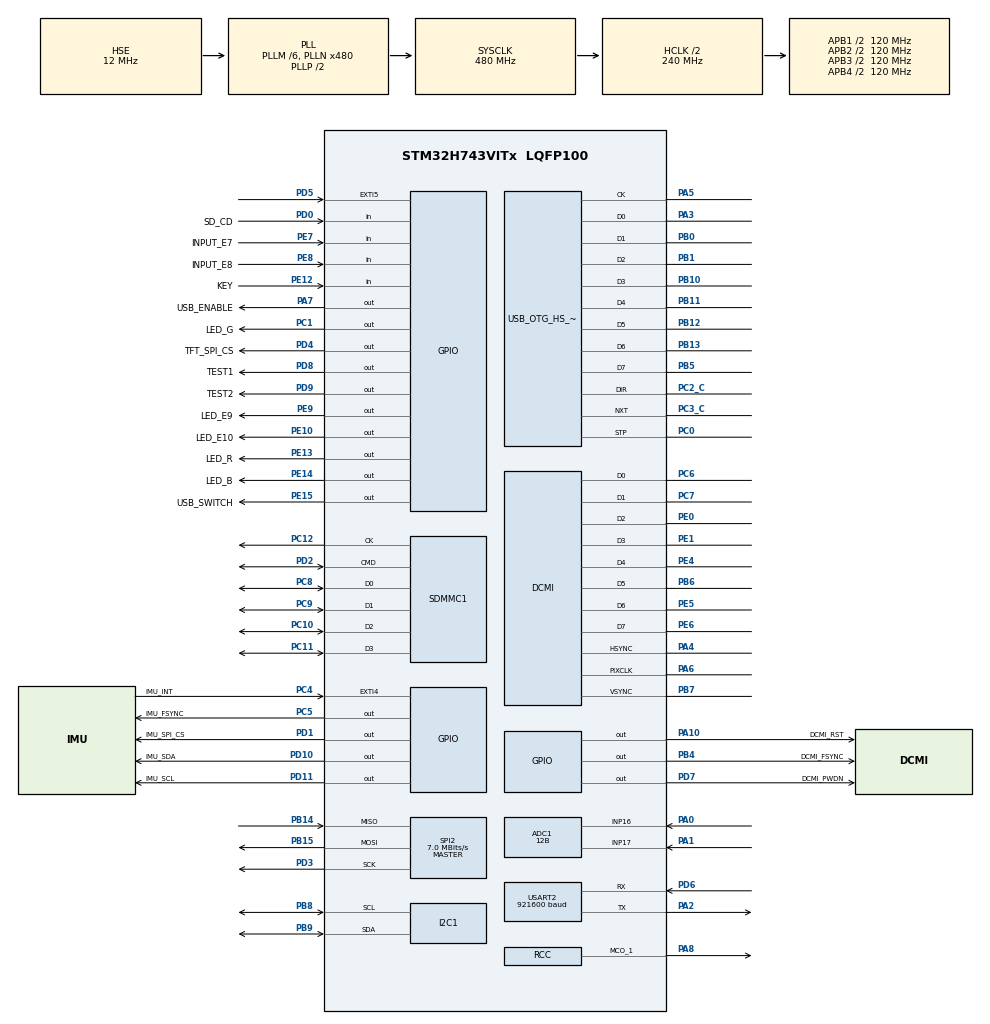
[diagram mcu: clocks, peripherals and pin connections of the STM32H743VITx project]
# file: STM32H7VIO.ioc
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ADC1.Channel-0\#ChannelRegularConversion=ADC_CHANNEL_16
ADC1.NbrOfConversionFlag=1
ADC1.OffsetNumber-0\#ChannelRegularConversion=ADC_OFFSET_NONE
ADC1.Overrun=ADC_OVR_DATA_OVERWRITTEN
ADC1.Rank-0\#ChannelRegularConversion=1
ADC1.Resolution=ADC_RESOLUTION_12B
ADC1.SamplingTime-0\#ChannelRegularConversion=ADC_SAMPLETIME_1CYCLE_5
ADC1.master=1
CORTEX_M7.AccessPermission-Cortex_Memory_Protection_Unit_Region0_Settings=MPU_REGION_FULL_ACCESS
CORTEX_M7.BaseAddress-Cortex_Memory_Protection_Unit_Region0_Settings=0x24000000
CORTEX_M7.CPU_DCache=Disabled
CORTEX_M7.CPU_ICache=Enabled
CORTEX_M7.Enable-Cortex_Memory_Protection_Unit_Region0_Settings=MPU_REGION_ENABLE
CORTEX_M7.MPU_Control=__NULL
CORTEX_M7.Size-Cortex_Memory_Protection_Unit_Region0_Settings=MPU_REGION_SIZE_512KB
DCMI.JPEGMode=DCMI_JPEG_DISABLE
Dma.DCMI.0.Direction=DMA_PERIPH_TO_MEMORY
Dma.DCMI.0.EventEnable=DISABLE
Dma.DCMI.0.FIFOMode=DMA_FIFOMODE_ENABLE
Dma.DCMI.0.FIFOThreshold=DMA_FIFO_THRESHOLD_FULL
Dma.DCMI.0.Instance=DMA2_Stream1
Dma.DCMI.0.MemBurst=DMA_MBURST_SINGLE
Dma.DCMI.0.MemDataAlignment=DMA_MDATAALIGN_WORD
Dma.DCMI.0.MemInc=DMA_MINC_ENABLE
Dma.DCMI.0.Mode=DMA_CIRCULAR
Dma.DCMI.0.PeriphBurst=DMA_PBURST_SINGLE
Dma.DCMI.0.PeriphDataAlignment=DMA_PDATAALIGN_WORD
Dma.DCMI.0.PeriphInc=DMA_PINC_DISABLE
Dma.DCMI.0.Polarity=HAL_DMAMUX_REQ_GEN_RISING
Dma.DCMI.0.Priority=DMA_PRIORITY_HIGH
Dma.DCMI.0.RequestNumber=1
Dma.DCMI.0.SignalID=NONE
Dma.DCMI.0.SyncEnable=DISABLE
Dma.DCMI.0.SyncPolarity=HAL_DMAMUX_SYNC_NO_EVENT
Dma.DCMI.0.SyncRequestNumber=1
Dma.DCMI.0.SyncSignalID=NONE
Dma.Request0=DCMI
Dma.Request1=SPI2_TX
Dma.SPI2_TX.1.Direction=DMA_MEMORY_TO_PERIPH
Dma.SPI2_TX.1.EventEnable=DISABLE
Dma.SPI2_TX.1.FIFOMode=DMA_FIFOMODE_DISABLE
Dma.SPI2_TX.1.Instance=DMA1_Stream0
Dma.SPI2_TX.1.MemDataAlignment=DMA_MDATAALIGN_BYTE
Dma.SPI2_TX.1.MemInc=DMA_MINC_ENABLE
Dma.SPI2_TX.1.Mode=DMA_NORMAL
Dma.SPI2_TX.1.PeriphDataAlignment=DMA_PDATAALIGN_BYTE
Dma.SPI2_TX.1.PeriphInc=DMA_PINC_DISABLE
Dma.SPI2_TX.1.Polarity=HAL_DMAMUX_REQ_GEN_RISING
Dma.SPI2_TX.1.Priority=DMA_PRIORITY_HIGH
Dma.SPI2_TX.1.RequestNumber=1
Dma.SPI2_TX.1.SignalID=NONE
Dma.SPI2_TX.1.SyncEnable=DISABLE
Dma.SPI2_TX.1.SyncPolarity=HAL_DMAMUX_SYNC_NO_EVENT
Dma.SPI2_TX.1.SyncRequestNumber=1
Dma.SPI2_TX.1.SyncSignalID=NONE
FATFS.BSP.number=1
FATFS._CODE_PAGE=936
FATFS._USE_LFN=2
FATFS0.BSP.STBoard=false
FATFS0.BSP.api=Unknown
FATFS0.BSP.i2caddr=0
FATFS0.BSP.instance=PD0
FATFS0.BSP.ip=GPIO
FATFS0.BSP.mode=Input
FATFS0.BSP.name=Detect_SDIO
FATFS0.BSP.solution=PD0
FREERTOS.Tasks01=defaultTask,0,1024,StartDefaultTask,Default,NULL,Dynamic,NULL,NULL
FREERTOS.configTOTAL_HEAP_SIZE=16384
FREERTOS.configUSE_TIMERS=1
I2C1.Analog_Filter=I2C_ANALOGFILTER_ENABLE
I2C1.Timing=0x307075B1
Mcu.Family=STM32H7
Mcu.Name=STM32H743VITx
Mcu.Package=LQFP100
Mdma.MDMA_Channel0.Request0=SDMMC1_END_DATA
Mdma.MDMA_Channel0.RequestsNb=1
Mdma.MDMA_Channel0.SDMMC1_END_DATA.0.BlockCount=0
Mdma.MDMA_Channel0.SDMMC1_END_DATA.0.BlockDataLength=0
Mdma.MDMA_Channel0.SDMMC1_END_DATA.0.BufferTransferLength=1
Mdma.MDMA_Channel0.SDMMC1_END_DATA.0.CircularMode=MDMA_LINEAR_LIST
Mdma.MDMA_Channel0.SDMMC1_END_DATA.0.DataAlignment=MDMA_DATAALIGN_PACKENABLE
Mdma.MDMA_Channel0.SDMMC1_END_DATA.0.DestBlockAddressOffset=0
Mdma.MDMA_Channel0.SDMMC1_END_DATA.0.DestBurst=MDMA_DEST_BURST_SINGLE
Mdma.MDMA_Channel0.SDMMC1_END_DATA.0.DestDataSize=MDMA_DEST_DATASIZE_BYTE
Mdma.MDMA_Channel0.SDMMC1_END_DATA.0.DestinationInc=MDMA_DEST_INC_BYTE
Mdma.MDMA_Channel0.SDMMC1_END_DATA.0.DstAddress=0
Mdma.MDMA_Channel0.SDMMC1_END_DATA.0.Endianness=MDMA_LITTLE_ENDIANNESS_PRESERVE
Mdma.MDMA_Channel0.SDMMC1_END_DATA.0.Instance=MDMA_Channel0
Mdma.MDMA_Channel0.SDMMC1_END_DATA.0.MaskAddress=0
Mdma.MDMA_Channel0.SDMMC1_END_DATA.0.MaskData=0
Mdma.MDMA_Channel0.SDMMC1_END_DATA.0.Priority=MDMA_PRIORITY_LOW
Mdma.MDMA_Channel0.SDMMC1_END_DATA.0.Rank=First
Mdma.MDMA_Channel0.SDMMC1_END_DATA.0.SourceBlockAddressOffset=0
Mdma.MDMA_Channel0.SDMMC1_END_DATA.0.SourceBurst=MDMA_SOURCE_BURST_SINGLE
Mdma.MDMA_Channel0.SDMMC1_END_DATA.0.SourceDataSize=MDMA_SRC_DATASIZE_BYTE
Mdma.MDMA_Channel0.SDMMC1_END_DATA.0.SourceInc=MDMA_SRC_INC_BYTE
Mdma.MDMA_Channel0.SDMMC1_END_DATA.0.SrcAddress=0
Mdma.MDMA_Channel0.SDMMC1_END_DATA.0.TransferTriggerMode=MDMA_BUFFER_TRANSFER
Mdma.RequestSet0=MDMA_Channel0
Mdma.RequestSetsNb=1
NVIC.DCMI_IRQn=true\:5\:0\:false\:false\:true\:true\:true\:true
NVIC.DMA1_Stream0_IRQn=true\:5\:0\:false\:false\:true\:true\:false\:true
NVIC.DMA2_Stream1_IRQn=true\:5\:0\:false\:false\:true\:true\:false\:true
NVIC.EXTI4_IRQn=true\:5\:0\:false\:false\:true\:true\:true\:true
NVIC.EXTI9_5_IRQn=true\:0\:0\:false\:false\:true\:false\:true\:true
NVIC.OTG_HS_IRQn=true\:5\:0\:false\:false\:true\:true\:true\:true
NVIC.PriorityGroup=NVIC_PRIORITYGROUP_4
NVIC.SDMMC1_IRQn=true\:5\:0\:false\:false\:true\:true\:true\:true
NVIC.SPI2_IRQn=true\:5\:0\:false\:false\:true\:true\:false\:true
NVIC.TIM7_IRQn=true\:0\:0\:false\:false\:true\:false\:false\:true
NVIC.TimeBase=TIM7_IRQn
NVIC.TimeBaseIP=TIM7
NVIC.USART2_IRQn=true\:5\:0\:false\:false\:true\:true\:true\:true
PA0.Mode=IN16-Single-Ended
PA0.Signal=ADC1_INP16
PA1.Mode=IN17-Single-Ended
PA1.Signal=ADC1_INP17
PA10.GPIO_Label=DCMI_RST
PA10.Signal=GPIO_Output
PA13\ (JTMS/SWDIO).Mode=Serial_Wire
PA13\ (JTMS/SWDIO).Signal=DEBUG_JTMS-SWDIO
PA14\ (JTCK/SWCLK).Mode=Serial_Wire
PA14\ (JTCK/SWCLK).Signal=DEBUG_JTCK-SWCLK
PA2.Mode=Asynchronous
PA2.Signal=USART2_TX
PA3.Mode=Device_HS
PA3.Signal=USB_OTG_HS_ULPI_D0
PA4.Mode=Slave_8_bits_External_Synchro
PA4.Signal=DCMI_HSYNC
PA5.Mode=Device_HS
PA5.Signal=USB_OTG_HS_ULPI_CK
PA6.Mode=Slave_8_bits_External_Synchro
PA6.Signal=DCMI_PIXCLK
PA7.GPIO_Label=USB_ENABLE
PA7.PinState=GPIO_PIN_SET
PA7.Signal=GPIO_Output
PA8.Mode=Clock-out-1
PA8.Signal=RCC_MCO_1
PB0.Mode=Device_HS
PB0.Signal=USB_OTG_HS_ULPI_D1
PB1.Mode=Device_HS
PB1.Signal=USB_OTG_HS_ULPI_D2
PB10.Mode=Device_HS
PB10.Signal=USB_OTG_HS_ULPI_D3
PB11.Mode=Device_HS
PB11.Signal=USB_OTG_HS_ULPI_D4
PB12.Mode=Device_HS
PB12.Signal=USB_OTG_HS_ULPI_D5
PB13.Mode=Device_HS
PB13.Signal=USB_OTG_HS_ULPI_D6
PB14.Mode=Full_Duplex_Master
PB14.Signal=SPI2_MISO
PB15.Mode=Full_Duplex_Master
PB15.Signal=SPI2_MOSI
PB4\ (NJTRST).GPIO_Label=DCMI_FSYNC
PB4\ (NJTRST).GPIO_Speed=GPIO_SPEED_FREQ_VERY_HIGH
PB4\ (NJTRST).Signal=GPIO_Output
PB5.Mode=Device_HS
PB5.Signal=USB_OTG_HS_ULPI_D7
PB6.Mode=Slave_8_bits_External_Synchro
PB6.Signal=DCMI_D5
PB7.Mode=Slave_8_bits_External_Synchro
PB7.Signal=DCMI_VSYNC
PB8.Mode=I2C
PB8.Signal=I2C1_SCL
PB9.Mode=I2C
PB9.Signal=I2C1_SDA
PC0.Mode=Device_HS
PC0.Signal=USB_OTG_HS_ULPI_STP
PC1.GPIO_Label=LED_G
PC1.PinState=GPIO_PIN_SET
PC1.Signal=GPIO_Output
PC10.GPIO_PuPd=GPIO_PULLUP
PC10.Mode=SD_4_bits_Wide_bus
PC10.Signal=SDMMC1_D2
PC11.GPIO_PuPd=GPIO_PULLUP
PC11.Mode=SD_4_bits_Wide_bus
PC11.Signal=SDMMC1_D3
PC12.GPIO_PuPd=GPIO_PULLUP
PC12.Mode=SD_4_bits_Wide_bus
PC12.Signal=SDMMC1_CK
PC2_C.Mode=Device_HS
PC2_C.Signal=USB_OTG_HS_ULPI_DIR
PC3_C.Mode=Device_HS
PC3_C.Signal=USB_OTG_HS_ULPI_NXT
PC4.GPIO_Label=IMU_INT
PC4.GPIO_ModeDefaultEXTI=GPIO_MODE_IT_RISING
PC4.GPIO_PuPd=GPIO_PULLUP
PC4.Signal=GPXTI4
PC5.GPIO_Label=IMU_FSYNC
PC5.Signal=GPIO_Output
PC6.Mode=Slave_8_bits_External_Synchro
PC6.Signal=DCMI_D0
PC7.Mode=Slave_8_bits_External_Synchro
PC7.Signal=DCMI_D1
PC8.GPIO_PuPd=GPIO_PULLUP
PC8.Mode=SD_4_bits_Wide_bus
PC8.Signal=SDMMC1_D0
PC9.GPIO_PuPd=GPIO_PULLUP
PC9.Mode=SD_4_bits_Wide_bus
PC9.Signal=SDMMC1_D1
PD0.GPIO_Label=SD_CD
PD0.Signal=GPIO_Input
PD1.GPIO_Label=IMU_SPI_CS
PD1.Signal=GPIO_Output
PD10.GPIO_Label=IMU_SDA
PD10.Signal=GPIO_Output
PD11.GPIO_Label=IMU_SCL
PD11.Signal=GPIO_Output
PD2.GPIO_PuPd=GPIO_PULLUP
PD2.Mode=SD_4_bits_Wide_bus
PD2.Signal=SDMMC1_CMD
PD3.Mode=Full_Duplex_Master
PD3.Signal=SPI2_SCK
PD4.GPIO_Label=TFT_SPI_CS
PD4.Signal=GPIO_Output
PD5.GPIO_ModeDefaultEXTI=GPIO_MODE_IT_FALLING
PD5.Signal=GPXTI5
PD6.Mode=Asynchronous
PD6.Signal=USART2_RX
PD7.GPIO_Label=DCMI_PWDN
PD7.Signal=GPIO_Output
PD8.GPIO_Label=TEST1
PD8.GPIO_Speed=GPIO_SPEED_FREQ_VERY_HIGH
PD8.Signal=GPIO_Output
PD9.GPIO_Label=TEST2
PD9.GPIO_Speed=GPIO_SPEED_FREQ_VERY_HIGH
PD9.Signal=GPIO_Output
PE0.Mode=Slave_8_bits_External_Synchro
PE0.Signal=DCMI_D2
PE1.Mode=Slave_8_bits_External_Synchro
PE1.Signal=DCMI_D3
PE10.GPIO_Label=LED_E10
PE10.PinState=GPIO_PIN_SET
PE10.Signal=GPIO_Output
PE12.GPIO_Label=KEY
PE12.GPIO_PuPd=GPIO_PULLUP
PE12.Signal=GPIO_Input
PE13.GPIO_Label=LED_R
PE13.PinState=GPIO_PIN_SET
PE13.Signal=GPIO_Output
PE14.GPIO_Label=LED_B
PE14.GPIO_Speed=GPIO_SPEED_FREQ_VERY_HIGH
PE14.PinState=GPIO_PIN_SET
PE14.Signal=GPIO_Output
PE15.GPIO_Label=USB_SWITCH
PE15.PinState=GPIO_PIN_RESET
PE15.Signal=GPIO_Output
PE4.Mode=Slave_8_bits_External_Synchro
PE4.Signal=DCMI_D4
PE5.Mode=Slave_8_bits_External_Synchro
PE5.Signal=DCMI_D6
PE6.Mode=Slave_8_bits_External_Synchro
PE6.Signal=DCMI_D7
PE7.GPIO_Label=INPUT_E7
PE7.Signal=GPIO_Input
PE8.GPIO_Label=INPUT_E8
PE8.Signal=GPIO_Input
PE9.GPIO_Label=LED_E9
PE9.PinState=GPIO_PIN_SET
PE9.Signal=GPIO_Output
PH0-OSC_IN\ (PH0).Mode=HSE-External-Oscillator
PH0-OSC_IN\ (PH0).Signal=RCC_OSC_IN
PH1-OSC_OUT\ (PH1).Mode=HSE-External-Oscillator
PH1-OSC_OUT\ (PH1).Signal=RCC_OSC_OUT
ProjectManager.HeapSize=0xA00
ProjectManager.StackSize=0x1000
ProjectManager.TargetToolchain=MDK-ARM V5
RCC.ADCCLockSelection=RCC_ADCCLKSOURCE_CLKP
RCC.ADCFreq_Value=64000000
RCC.APB1Freq_Value=120000000
RCC.APB2Freq_Value=120000000
RCC.APB3Freq_Value=120000000
RCC.APB4Freq_Value=120000000
RCC.CortexFreq_Value=480000000
RCC.D1PPRE=RCC_APB3_DIV2
RCC.D2PPRE1=RCC_APB1_DIV2
RCC.D2PPRE2=RCC_APB2_DIV2
RCC.D3PPRE=RCC_APB4_DIV2
RCC.DIVM1=6
RCC.DIVM2=6
RCC.DIVM3=6
RCC.DIVN1=480
RCC.DIVN2=112
RCC.DIVN3=400
RCC.DIVP2=1
RCC.DIVQ1=10
RCC.DIVR2=16
RCC.HCLKFreq_Value=240000000
RCC.HPRE=RCC_HCLK_DIV2
RCC.HSE_VALUE=12000000
RCC.PLLSourceVirtual=RCC_PLLSOURCE_HSE
RCC.RCC_MCO1Source=RCC_MCO1SOURCE_PLL1QCLK
RCC.RCC_MCODiv1=RCC_MCODIV_8
RCC.SPI123CLockSelection=RCC_SPI123CLKSOURCE_PLL2
RCC.SYSCLKFreq_VALUE=480000000
RCC.SYSCLKSource=RCC_SYSCLKSOURCE_PLLCLK
RCC.USBCLockSelection=RCC_USBCLKSOURCE_HSI48
RCC.USBFreq_Value=48000000
SDMMC1.USE_SD_TRANSCEIVER=0U
SPI2.BaudRatePrescaler=SPI_BAUDRATEPRESCALER_32
SPI2.CalculateBaudRate=7.0 MBits/s
SPI2.DataSize=SPI_DATASIZE_8BIT
SPI2.Direction=SPI_DIRECTION_2LINES
SPI2.Mode=SPI_MODE_MASTER
SPI2.NSSPMode=SPI_NSS_PULSE_DISABLE
SPI2.VirtualType=VM_MASTER
USART2.BaudRate=921600
USART2.ClockPrescaler=PRESCALER_DIV1
USART2.Mode=MODE_RX
USART2.OverSampling=UART_OVERSAMPLING_16
USART2.VirtualMode-Asynchronous=VM_ASYNC
USB_DEVICE.CLASS_NAME_HS=CDC
USB_DEVICE.VirtualMode-CDC_HS=Cdc
USB_DEVICE.VirtualModeHS=Cdc_HS
USB_OTG_HS.VirtualMode-Device_HS=Device_HS
USB_OTG_HS.dma_enable-Device_HS=DISABLE
VP_FATFS_VS_SDIO.Mode=SDIO
VP_FREERTOS_VS_CMSIS_V1.Mode=CMSIS_V1
VP_SYS_VS_tim7.Mode=TIM7
VP_USB_DEVICE_VS_USB_DEVICE_CDC_HS.Mode=CDC_HS
board=custom

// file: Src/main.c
/* USER CODE BEGIN Header */
/**
  ******************************************************************************
  * @file           : main.c
  * @brief          : Main program body
  ******************************************************************************
  * @attention
  *
  * <h2><center>&copy; Copyright (c) 2019 STMicroelectronics.
  * All rights reserved.</center></h2>
  *
  * This software component is licensed by ST under Ultimate Liberty license
  * SLA0044, the "License"; You may not use this file except in compliance with
  * the License. You may obtain a copy of the License at:
  *                             www.st.com/SLA0044
  *
  ******************************************************************************
  */
/* USER CODE END Header */

#include "main.h"
#include "cmsis_os.h"
#include "adc.h"
#include "dcmi.h"
#include "dma.h"
#include "fatfs.h"
#include "i2c.h"
#include "mdma.h"
#include "sdmmc.h"
#include "spi.h"
#include "usart.h"
#include "usb_device.h"
#include "gpio.h"

void SystemClock_Config(void);
void MX_FREERTOS_Init(void);
/* USER CODE BEGIN PFP */
uint32_t timer_cnt = 0;
/* USER CODE END PFP */

int main(void)
{

  /* Enable I-Cache---------------------------------------------------------*/
  SCB_EnableICache();

  /* MCU Configuration--------------------------------------------------------*/

  /* Reset of all peripherals, Initializes the Flash interface and the Systick. */
  HAL_Init();

  /* Configure the system clock */
  SystemClock_Config();

  /* USER CODE BEGIN SysInit */
  __HAL_RCC_DMA2_CLK_ENABLE();//must enable dma2,for dcmi work well.
  /* USER CODE END SysInit */

  /* Initialize all configured peripherals */
  MX_GPIO_Init();
  MX_DCMI_Init();
  MX_I2C1_Init();
  MX_DMA_Init();
  MX_SDMMC1_SD_Init();
  MX_FATFS_Init();
  MX_SPI2_Init();
  MX_MDMA_Init();
  MX_ADC1_Init();
  MX_USART2_UART_Init();
  /* USER CODE BEGIN 2 */
  // HAL_TIM_Base_Start_IT(&htim6);
  // HAL_TIM_Base_Start_IT(&htim13);
  //printf("hello openvio\r\n");

  /* USER CODE END 2 */

  /* Call init function for freertos objects (in freertos.c) */
  MX_FREERTOS_Init();
  /* Start scheduler */
  osKernelStart();

  /* We should never get here as control is now taken by the scheduler */
  /* Infinite loop */
  while (1)
  {

    /* USER CODE BEGIN 3 */
      //CDC_Transmit_HS(send_buf,sizeof(send_buf));
  }
  /* USER CODE END 3 */
}

void SystemClock_Config(void)
{
  RCC_OscInitTypeDef RCC_OscInitStruct = {0};
  RCC_ClkInitTypeDef RCC_ClkInitStruct = {0};
  RCC_PeriphCLKInitTypeDef PeriphClkInitStruct = {0};

  /** Supply configuration update enable
  */
  HAL_PWREx_ConfigSupply(PWR_LDO_SUPPLY);
  /** Configure the main internal regulator output voltage
  */
  __HAL_PWR_VOLTAGESCALING_CONFIG(PWR_REGULATOR_VOLTAGE_SCALE0);

  while(!__HAL_PWR_GET_FLAG(PWR_FLAG_VOSRDY)) {}
  /** Macro to configure the PLL clock source
  */
  __HAL_RCC_PLL_PLLSOURCE_CONFIG(RCC_PLLSOURCE_HSE);
  /** Initializes the CPU, AHB and APB busses clocks
  */
  RCC_OscInitStruct.OscillatorType = RCC_OSCILLATORTYPE_HSI|RCC_OSCILLATORTYPE_HSE;
  RCC_OscInitStruct.HSEState = RCC_HSE_ON;
  RCC_OscInitStruct.HSIState = RCC_HSI_DIV1;
  RCC_OscInitStruct.HSICalibrationValue = RCC_HSICALIBRATION_DEFAULT;
  RCC_OscInitStruct.PLL.PLLState = RCC_PLL_ON;
  RCC_OscInitStruct.PLL.PLLSource = RCC_PLLSOURCE_HSE;
  RCC_OscInitStruct.PLL.PLLM = 6;
  RCC_OscInitStruct.PLL.PLLN = 480;
  RCC_OscInitStruct.PLL.PLLP = 2;
  RCC_OscInitStruct.PLL.PLLQ = 10;
  RCC_OscInitStruct.PLL.PLLR = 2;
  RCC_OscInitStruct.PLL.PLLRGE = RCC_PLL1VCIRANGE_1;
  RCC_OscInitStruct.PLL.PLLVCOSEL = RCC_PLL1VCOWIDE;
  RCC_OscInitStruct.PLL.PLLFRACN = 0;
  if (HAL_RCC_OscConfig(&RCC_OscInitStruct) != HAL_OK)
  {
    Error_Handler();
  }
  /** Initializes the CPU, AHB and APB busses clocks
  */
  RCC_ClkInitStruct.ClockType = RCC_CLOCKTYPE_HCLK|RCC_CLOCKTYPE_SYSCLK
                              |RCC_CLOCKTYPE_PCLK1|RCC_CLOCKTYPE_PCLK2
                              |RCC_CLOCKTYPE_D3PCLK1|RCC_CLOCKTYPE_D1PCLK1;
  RCC_ClkInitStruct.SYSCLKSource = RCC_SYSCLKSOURCE_PLLCLK;
  RCC_ClkInitStruct.SYSCLKDivider = RCC_SYSCLK_DIV1;
  RCC_ClkInitStruct.AHBCLKDivider = RCC_HCLK_DIV2;
  RCC_ClkInitStruct.APB3CLKDivider = RCC_APB3_DIV2;
  RCC_ClkInitStruct.APB1CLKDivider = RCC_APB1_DIV2;
  RCC_ClkInitStruct.APB2CLKDivider = RCC_APB2_DIV2;
  RCC_ClkInitStruct.APB4CLKDivider = RCC_APB4_DIV2;

  if (HAL_RCC_ClockConfig(&RCC_ClkInitStruct, FLASH_LATENCY_4) != HAL_OK)
  {
    Error_Handler();
  }
  PeriphClkInitStruct.PeriphClockSelection = RCC_PERIPHCLK_USART2|RCC_PERIPHCLK_SPI2
                              |RCC_PERIPHCLK_SDMMC|RCC_PERIPHCLK_ADC
                              |RCC_PERIPHCLK_I2C1|RCC_PERIPHCLK_CKPER;
  PeriphClkInitStruct.PLL2.PLL2M = 6;
  PeriphClkInitStruct.PLL2.PLL2N = 112;
  PeriphClkInitStruct.PLL2.PLL2P = 1;
  PeriphClkInitStruct.PLL2.PLL2Q = 2;
  PeriphClkInitStruct.PLL2.PLL2R = 16;
  PeriphClkInitStruct.PLL2.PLL2RGE = RCC_PLL2VCIRANGE_1;
  PeriphClkInitStruct.PLL2.PLL2VCOSEL = RCC_PLL2VCOWIDE;
  PeriphClkInitStruct.PLL2.PLL2FRACN = 0;
  PeriphClkInitStruct.SdmmcClockSelection = RCC_SDMMCCLKSOURCE_PLL;
  PeriphClkInitStruct.CkperClockSelection = RCC_CLKPSOURCE_HSI;
  PeriphClkInitStruct.Spi123ClockSelection = RCC_SPI123CLKSOURCE_PLL2;
  PeriphClkInitStruct.Usart234578ClockSelection = RCC_USART234578CLKSOURCE_D2PCLK1;
  PeriphClkInitStruct.I2c123ClockSelection = RCC_I2C123CLKSOURCE_D2PCLK1;
  PeriphClkInitStruct.AdcClockSelection = RCC_ADCCLKSOURCE_CLKP;
  if (HAL_RCCEx_PeriphCLKConfig(&PeriphClkInitStruct) != HAL_OK)
  {
    Error_Handler();
  }
  HAL_RCC_MCOConfig(RCC_MCO1, RCC_MCO1SOURCE_PLL1QCLK, RCC_MCODIV_8);
}

/* USER CODE BEGIN 4 */
void get_time(uint32_t *t1_cnt,uint16_t *t2_cnt)
{
//	*t2_cnt = htim6.Instance->CNT;
//	*t1_cnt = timer_cnt;
}

/* USER CODE END 4 */

 /**
  * @brief  Period elapsed callback in non blocking mode
  * @note   This function is called  when TIM7 interrupt took place, inside
  * HAL_TIM_IRQHandler(). It makes a direct call to HAL_IncTick() to increment
  * a global variable "uwTick" used as application time base.
  * @param  htim : TIM handle
  * @retval None
  */
void HAL_TIM_PeriodElapsedCallback(TIM_HandleTypeDef *htim)
{
  if (htim->Instance == TIM7) {
    HAL_IncTick();
  }
  /* USER CODE BEGIN Callback 1 */
  if (htim->Instance == TIM6) {
	timer_cnt++;
    //HAL_GPIO_TogglePin(TEST1_GPIO_Port, TEST1_Pin);
  }

  if (htim->Instance == TIM13) {
	  //HAL_GPIO_WritePin(TEST1_GPIO_Port, TEST1_Pin, GPIO_PIN_SET);

	  //mpu6050_transmit();

	  //HAL_GPIO_WritePin(TEST1_GPIO_Port, TEST1_Pin, GPIO_PIN_RESET);

	//icm20948_transmit();
    //HAL_GPIO_TogglePin(TEST1_GPIO_Port, TEST1_Pin);
  }
  /* USER CODE END Callback 1 */
}

void Error_Handler(void)
{
}

/************************ (C) COPYRIGHT STMicroelectronics *****END OF FILE****/

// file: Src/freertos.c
/* USER CODE BEGIN Header */
/**
  ******************************************************************************
  * File Name          : freertos.c
  * Description        : Code for freertos applications
  ******************************************************************************
  * @attention
  *
  * <h2><center>&copy; Copyright (c) 2019 STMicroelectronics.
  * All rights reserved.</center></h2>
  *
  * This software component is licensed by ST under Ultimate Liberty license
  * SLA0044, the "License"; You may not use this file except in compliance with
  * the License. You may obtain a copy of the License at:
  *                             www.st.com/SLA0044
  *
  ******************************************************************************
  */
/* USER CODE END Header */

#include "FreeRTOS.h"
#include "task.h"
#include "main.h"
#include "cmsis_os.h"

/* USER CODE BEGIN Includes */
#include "openvio_task.h"
#include "dcmi.h"
#include "sd_card.h"
#include "openvio.h"
#include "lcd.h"
#include "usbd_cdc_if.h"

uint16_t adc_value;
uint8_t fps_value;
extern uint8_t fps_count;
extern USBD_HandleTypeDef hUsbDeviceHS;
extern struct OPENVIO_STATUS vio_status;
extern ADC_HandleTypeDef hadc1;
/* USER CODE END Includes */

osThreadId defaultTaskHandle;

/* USER CODE BEGIN FunctionPrototypes */
osThreadId openvioTaskHandle;
/* USER CODE END FunctionPrototypes */

void StartDefaultTask(void const * argument);

extern void MX_USB_DEVICE_Init(void);
void MX_FREERTOS_Init(void); /* (MISRA C 2004 rule 8.1) */

/* GetIdleTaskMemory prototype (linked to static allocation support) */
void vApplicationGetIdleTaskMemory( StaticTask_t **ppxIdleTaskTCBBuffer, StackType_t **ppxIdleTaskStackBuffer, uint32_t *pulIdleTaskStackSize );

/* GetTimerTaskMemory prototype (linked to static allocation support) */
void vApplicationGetTimerTaskMemory( StaticTask_t **ppxTimerTaskTCBBuffer, StackType_t **ppxTimerTaskStackBuffer, uint32_t *pulTimerTaskStackSize );

/* USER CODE BEGIN GET_IDLE_TASK_MEMORY */
static StaticTask_t xIdleTaskTCBBuffer;
static StackType_t xIdleStack[configMINIMAL_STACK_SIZE];

void vApplicationGetIdleTaskMemory(StaticTask_t **ppxIdleTaskTCBBuffer, StackType_t **ppxIdleTaskStackBuffer, uint32_t *pulIdleTaskStackSize)
{
  *ppxIdleTaskTCBBuffer = &xIdleTaskTCBBuffer;
  *ppxIdleTaskStackBuffer = &xIdleStack[0];
  *pulIdleTaskStackSize = configMINIMAL_STACK_SIZE;
  /* place for user code */
}
/* USER CODE END GET_IDLE_TASK_MEMORY */

/* USER CODE BEGIN GET_TIMER_TASK_MEMORY */
static StaticTask_t xTimerTaskTCBBuffer;
static StackType_t xTimerStack[configTIMER_TASK_STACK_DEPTH];

void vApplicationGetTimerTaskMemory(StaticTask_t **ppxTimerTaskTCBBuffer, StackType_t **ppxTimerTaskStackBuffer, uint32_t *pulTimerTaskStackSize)
{
  *ppxTimerTaskTCBBuffer = &xTimerTaskTCBBuffer;
  *ppxTimerTaskStackBuffer = &xTimerStack[0];
  *pulTimerTaskStackSize = configTIMER_TASK_STACK_DEPTH;
  /* place for user code */
}
/* USER CODE END GET_TIMER_TASK_MEMORY */

void MX_FREERTOS_Init(void) {

  /* Create the thread(s) */
  /* definition and creation of defaultTask */
  osThreadDef(defaultTask, StartDefaultTask, osPriorityNormal, 0, 1024);
  defaultTaskHandle = osThreadCreate(osThread(defaultTask), NULL);

  /* USER CODE BEGIN RTOS_THREADS */
  /* add threads, ... */
  osThreadDef(openvioTask, StartOpenvioTask, osPriorityNormal, 0, 2048);
  openvioTaskHandle = osThreadCreate(osThread(openvioTask), NULL);

  /* USER CODE END RTOS_THREADS */

}

/* USER CODE BEGIN Header_StartDefaultTask */
DMA_BUFFER uint16_t ADC_ConvertedValue[10];
uint16_t Get_Adc(uint32_t ch)
{
  ADC_ChannelConfTypeDef ADC1_ChanConf;

  ADC1_ChanConf.Channel = ch;
  ADC1_ChanConf.Rank = ADC_REGULAR_RANK_1;
  ADC1_ChanConf.SamplingTime = ADC_SAMPLETIME_64CYCLES_5;
  ADC1_ChanConf.SingleDiff = ADC_SINGLE_ENDED;
  ADC1_ChanConf.OffsetNumber = ADC_OFFSET_NONE;
  ADC1_ChanConf.Offset = 0;
  HAL_ADC_ConfigChannel(&hadc1, &ADC1_ChanConf);

  HAL_ADC_Start(&hadc1);

  HAL_ADC_PollForConversion(&hadc1, 10);
  return (uint16_t)HAL_ADC_GetValue(&hadc1);
}

uint16_t Get_Adc_Average(uint32_t ch, uint8_t times)
{
  uint32_t temp_val = 0;
  uint8_t t;
  for (t = 0; t < times; t++)
  {
    temp_val += Get_Adc(ch);
    HAL_Delay(5);
  }
  return temp_val / times;
}

QueueHandle_t xQueue;
struct USB_FRAME_STRUCT usb_frame_s;
extern DMA_BUFFER uint8_t dcmi_image_buffer[CAM_PACKAGE_MAX_SIZE * 2];
extern TickType_t IMUTimeNow;
TickType_t CAMTimeNow;
extern uint8_t imu_lock;
/**
  * @brief  Function implementing the defaultTask thread.
  * @param  argument: Not used
  * @retval None
  */
/* USER CODE END Header_StartDefaultTask */
void StartDefaultTask(void const * argument)
{
  /* init code for USB_DEVICE */
  MX_USB_DEVICE_Init();
  /* USER CODE BEGIN StartDefaultTask */
  /* Infinite loop */

  HAL_ADCEx_Calibration_Start(&hadc1, ADC_CALIB_OFFSET, ADC_SINGLE_ENDED);
  xQueue = xQueueCreate(200, sizeof(struct USB_FRAME_STRUCT));
  if (xQueue == NULL)
  {
    //printf("Camera xQueueCreate Fail\r\n");
  }

  for (;;)
  {

    while(1)
    {
      osDelay(1000);
      //CAM_Transmit_HS(dcmi_image_buffer, CAM_PACKAGE_MAX_SIZE);
    }

    if (xQueueReceive(xQueue, &(usb_frame_s), (TickType_t)0xFFFFFF))
    {
      if (usb_frame_s.sensor == SENSOR_USB_CAM)
      {
        while (CAM_Transmit_HS(usb_frame_s.addr, usb_frame_s.len) != 0)
        {
          osDelay(1);
        }
        // if (usb_frame_s.len > 20)
        //   LCD_Show_Cam(usb_frame_s.addr, usb_frame_s.len);
      }
      else if (usb_frame_s.sensor == SENSOR_USB_IMU)
      {
        while (MPU_Transmit_HS(usb_frame_s.addr, usb_frame_s.len) != 0)
        {
          //osDelay(1);
        }
      }
    }

    // adc_value = Get_Adc_Average(ADC_CHANNEL_16,20);
    // printf("%d\t%0.2f\t%0.2f\r\n", adc_value,3.3f*(float)adc_value/4096,3.3f*(float)adc_value/4096*2);
    // osDelay(1000);

    // GPIO_PinState state = HAL_GPIO_ReadPin(KEY_GPIO_Port, KEY_Pin);
    // printf(" %d\r\n", state);

  }
  /* USER CODE END StartDefaultTask */
}

/* USER CODE BEGIN Application */
void HAL_ADC_ConvCpltCallback(ADC_HandleTypeDef *AdcHandle)
{
  ADC_ConvertedValue[0] = HAL_ADC_GetValue(AdcHandle);
  printf("%d\t%0.2f\r\n", ADC_ConvertedValue[0], 3.3f * (float)ADC_ConvertedValue[0] / 4096);
}
/* USER CODE END Application */

/************************ (C) COPYRIGHT STMicroelectronics *****END OF FILE****/
